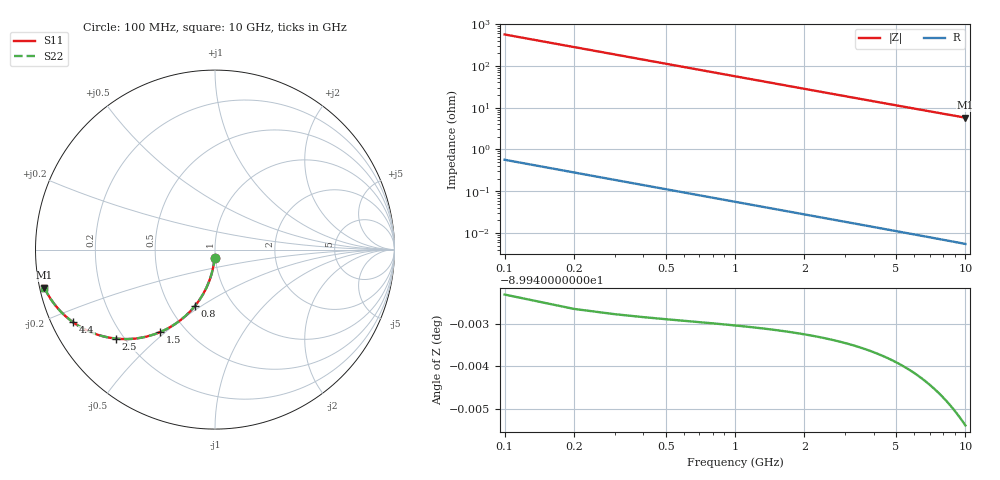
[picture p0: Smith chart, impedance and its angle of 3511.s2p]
# Hz S RI R 50.00
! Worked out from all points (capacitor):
!   100 points, 100 MHz to 10 GHz, reference 50 ohm
!   read as one part in shunt: C = 2.83 pF near 100 MHz
!   lowest |Z| = 5.76 ohm at 10 GHz (marker M1)
!   S11 on the Smith chart (normalised r, x): 100 MHz: 0.99, -0.09; 800 MHz: 0.66, -0.47; 1.5 GHz: 0.36, -0.48; 2.5 GHz: 0.17, -0.37; 4.4 GHz: 0.06, -0.24; 10 GHz: 0.01, -0.11
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1e8  -0.00201 -0.0443  0.998 -0.0444  0.998 -0.0444  -0.00201 -0.0443
2e8  -0.00792 -0.0881  0.9921 -0.0883  0.9921 -0.0883  -0.00792 -0.0881
3e8  -0.0176 -0.1309  0.9824 -0.1311  0.9824 -0.1311  -0.0176 -0.1309
4e8  -0.0308 -0.1721  0.9692 -0.1724  0.9692 -0.1724  -0.0308 -0.1721
5e8  -0.0472 -0.2115  0.9528 -0.2118  0.9528 -0.2118  -0.0472 -0.2115
6e8  -0.0666 -0.2486  0.9334 -0.249  0.9334 -0.249  -0.0666 -0.2486
8e8  -0.1124 -0.315  0.8876 -0.3156  0.8876 -0.3156  -0.1124 -0.315
9e8  -0.138 -0.3441  0.862 -0.3448  0.862 -0.3448  -0.138 -0.3441
1.1e9  -0.1929 -0.3936  0.8071 -0.3945  0.8071 -0.3945  -0.1929 -0.3936
1.3e9  -0.2501 -0.4321  0.7499 -0.433  0.7499 -0.433  -0.2501 -0.4321
1.5e9  -0.3073 -0.4603  0.6927 -0.4614  0.6927 -0.4614  -0.3073 -0.4603
1.8e9  -0.3895 -0.4865  0.6105 -0.4878  0.6105 -0.4878  -0.3895 -0.4865
2.1e9  -0.4645 -0.4975  0.5355 -0.499  0.5355 -0.499  -0.4645 -0.4975
2.5e9  -0.551 -0.4959  0.4489 -0.4978  0.4489 -0.4978  -0.551 -0.4959
2.9e9  -0.6225 -0.4832  0.3775 -0.4853  0.3775 -0.4853  -0.6225 -0.4832
3.4e9  -0.6935 -0.4592  0.3064 -0.4618  0.3064 -0.4618  -0.6935 -0.4592
3.9e9  -0.7483 -0.432  0.2517 -0.4349  0.2517 -0.4349  -0.7483 -0.432
4.4e9  -0.7907 -0.4046  0.2092 -0.4079  0.2092 -0.4079  -0.7907 -0.4046
5.1e9  -0.8352 -0.3685  0.1648 -0.3724  0.1648 -0.3724  -0.8352 -0.3685
6.7e9  -0.8971 -0.3007  0.1028 -0.3058  0.1028 -0.3058  -0.8971 -0.3007
8.4e9  -0.9319 -0.2481  0.0681 -0.2546  0.0681 -0.2546  -0.9319 -0.2481
1e10  -0.9509 -0.2116  0.049 -0.2193  0.049 -0.2193  -0.9509 -0.2116
